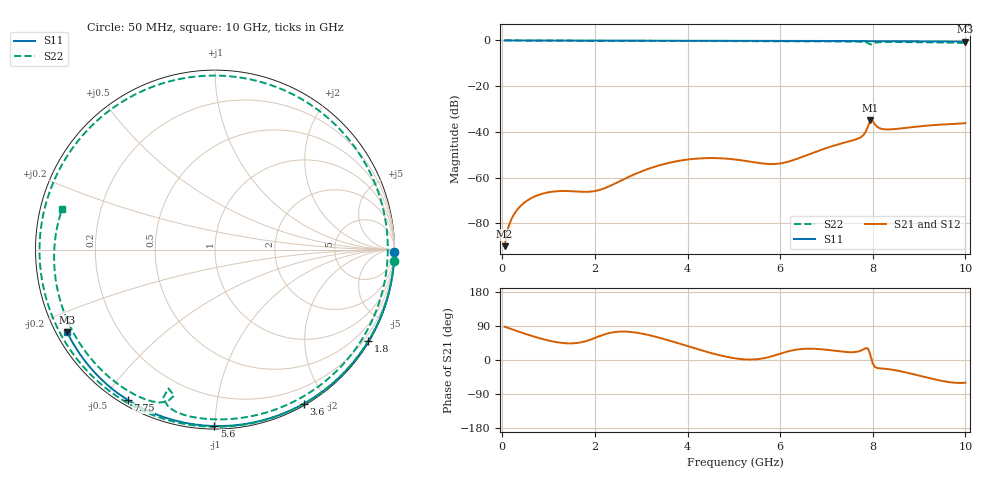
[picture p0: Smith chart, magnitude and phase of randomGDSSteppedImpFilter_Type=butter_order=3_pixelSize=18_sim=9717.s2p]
! freq	dB(S11)	phase(S11)	dB(S12)	phase(S12)
!  dB(S21)	phase(S21)	dB(S22)	phase(S22)
!S-par simulation data
#  GHz  S  DB  R 50
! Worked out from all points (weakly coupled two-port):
!   200 points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, 50 MHz to 10 GHz, reference 50 ohm
!   highest |S21| = -34.81 dB at 7.95 GHz (marker M1); lowest = -90.0 dB at 50 MHz (marker M2)
!   lowest |S11| = -0.5 dB at 10 GHz (marker M3), VSWR 34.23, Z = 1.56 - j13 ohm
!   |S11| at or under -10 dB: nowhere
!   |S22| runs from -1.8 to 0.0 dB; largest |S21 - S12| = 0
!   S11 on the Smith chart (normalised r, x): 50 MHz: open; 1.8 GHz: 0.03, -3.63; 3.6 GHz: 0.02, -1.73; 5.6 GHz: 0.02, -1.00; 7.75 GHz: 0.02, -0.57; 10 GHz: 0.03, -0.26
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0.05  -0.00 -0.9  -89.96 87.9  -89.96 87.9  -0.00 -3.5
0.15  -0.00 -2.6  -80.47 83.6  -80.47 83.6  -0.01 -10.5
0.5  -0.01 -8.7  -70.56 68.9  -70.56 68.9  -0.05 -34.7
0.95  -0.02 -16.4  -66.59 52.8  -66.59 52.8  -0.08 -65.2
1.35  -0.03 -23.2  -65.83 44.4  -65.83 44.4  -0.11 -91.4
1.75  -0.04 -30.0  -66.19 48.0  -66.19 48.0  -0.14 -116.8
1.8  -0.04 -30.8  -66.20 49.7  -66.20 49.7  -0.14 -119.9
2.6  -0.06 -44.1  -60.92 75.1  -60.92 75.1  -0.19 -169.0
3  -0.07 -50.5  -57.31 70.0  -57.31 70.0  -0.21 166.6
3.4  -0.08 -56.9  -54.56 58.5  -54.56 58.5  -0.23 142.0
3.6  -0.08 -60.1  -53.53 51.5  -53.53 51.5  -0.24 129.5
4.3  -0.10 -70.9  -51.54 25.6  -51.54 25.6  -0.27 85.4
5.05  -0.13 -82.2  -52.11 4.0  -52.11 4.0  -0.30 38.5
5.6  -0.15 -90.2  -53.74 3.6  -53.74 3.6  -0.32 5.9
6.1  -0.17 -97.4  -53.40 20.4  -53.40 20.4  -0.35 -21.6
6.7  -0.21 -105.8  -49.19 29.7  -49.19 29.7  -0.39 -51.9
7.25  -0.24 -113.4  -45.47 23.4  -45.47 23.4  -0.44 -77.4
7.75  -0.28 -120.2  -42.21 25.1  -42.21 25.1  -0.56 -100.6
7.95  -0.29 -122.9  -34.81 12.5  -34.81 12.5  -1.77 -108.5
8.35  -0.33 -128.4  -38.90 -24.4  -38.90 -24.4  -0.69 -121.8
9.25  -0.42 -140.5  -37.11 -48.6  -37.11 -48.6  -0.83 -160.3
10  -0.51 -150.8  -36.14 -60.0  -36.14 -60.0  -1.10 165.1
